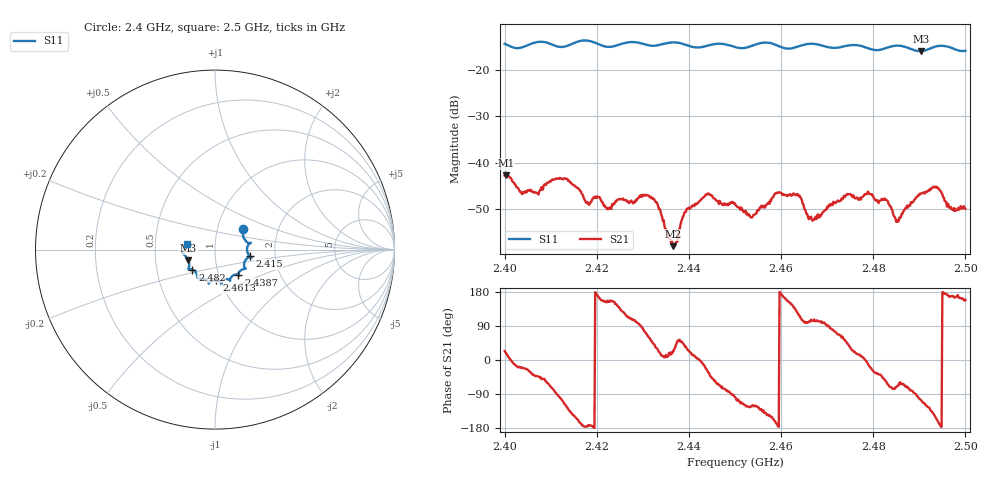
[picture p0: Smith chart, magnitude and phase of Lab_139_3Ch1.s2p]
# Hz S RI R
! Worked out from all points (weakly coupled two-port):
!   601 points, 2.4 GHz to 2.5 GHz, reference 50 ohm
!   highest |S21| = -42.71 dB at 2.4003 GHz (marker M1); lowest = -58.1 dB at 2.4365 GHz (marker M2)
!   lowest |S11| = -15.9 dB at 2.4903 GHz (marker M3), VSWR 1.38, Z = 36.8 - j4.43 ohm
!   |S11| at or under -10 dB: start of sweep to end of sweep
!   S12 and S22 are empty: the file has one direction only
!   S11 on the Smith chart (normalised r, x): 2.4 GHz: 1.33, +0.31; 2.415 GHz: 1.47, -0.11; 2.4387 GHz: 1.24, -0.36; 2.4613 GHz: 0.96, -0.34; 2.482 GHz: 0.76, -0.17; 2.5 GHz: 0.72, +0.05
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2.4e9  0.1573 0.1121  0.00659 0.00291  0 0  0 0
2.400333e9  0.1565 0.1079  0.00694 0.00233  0 0  0 0
2.403833e9  0.1695 0.0505  0.00427 -0.00155  0 0  0 0
2.415e9  0.1926 -0.036  -0.0047 -0.0032  0 0  0 0
2.416667e9  0.2039 -0.0436  -0.00458 -0.000891  0 0  0 0
2.422667e9  0.1651 -0.0679  -0.00287 0.00127  0 0  0 0
2.4305e9  0.154 -0.1105  0.00129 0.0042  0 0  0 0
2.433333e9  0.1323 -0.1316  0.00303 0.00143  0 0  0 0
2.4365e9  0.1345 -0.1481  0.00115 0.000486  0 0  0 0
2.438667e9  0.1304 -0.1416  0.00185 0.00181  0 0  0 0
2.444e9  0.085 -0.1632  0.00397 -0.00217  0 0  0 0
2.45e9  0.0687 -0.1644  -0.000495 -0.00356  0 0  0 0
2.453833e9  0.035 -0.1814  -0.00126 -0.00226  0 0  0 0
2.461333e9  0.00786 -0.1711  -0.00397 0.00175  0 0  0 0
2.466667e9  -0.0345 -0.1901  -0.000577 0.00237  0 0  0 0
2.4745e9  -0.0906 -0.161  0.00336 0.00305  0 0  0 0
2.482e9  -0.1262 -0.1117  0.00279 -0.00283  0 0  0 0
2.483333e9  -0.1399 -0.1088  0.00143 -0.00329  0 0  0 0
2.4855e9  -0.1491 -0.1083  0.000913 -0.00214  0 0  0 0
2.490333e9  -0.1494 -0.0586  -0.0012 -0.00444  0 0  0 0
2.493667e9  -0.1794 -0.0232  -0.00496 -0.00235  0 0  0 0
2.5e9  -0.1587 0.0326  -0.00294 0.00117  0 0  0 0
